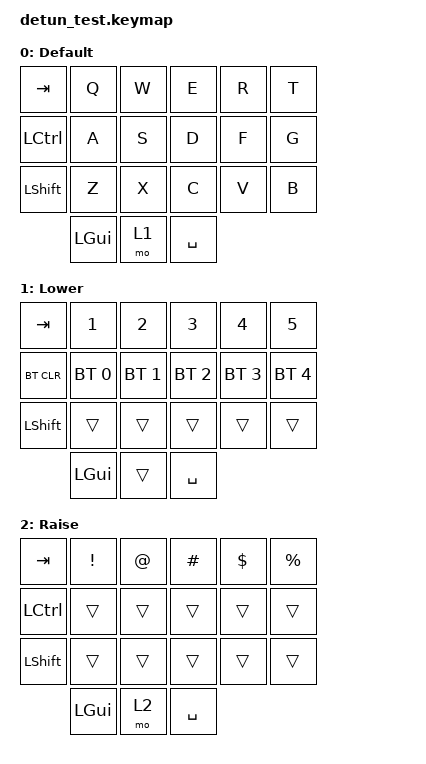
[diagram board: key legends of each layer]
/*
 * Copyright (c) 2020 The ZMK Contributors
 *
 * SPDX-License-Identifier: MIT
 */

#include <behaviors.dtsi>
#include <dt-bindings/zmk/keys.h>
#include <dt-bindings/zmk/bt.h>

/ {
    keymap {
        compatible = "zmk,keymap";

        default_layer {
            display-name = "Default";
// -----------------------------------------------------------------------------------------
// |  TAB |  Q  |  W  |  E  |  R  |  T  |
// | CTRL |  A  |  S  |  D  |  F  |  G  |
// | SHFT |  Z  |  X  |  C  |  V  |  B  |
//             | GUI | LWR | SPC |
            bindings = <
   &kp TAB   &kp Q &kp W &kp E &kp R &kp T
   &kp LCTRL &kp A &kp S &kp D &kp F &kp G
   &kp LSHFT &kp Z &kp X &kp C &kp V &kp B
             &kp LGUI &mo 1 &kp SPACE
            >;
        };

        lower_layer {
            display-name = "Lower";
// -----------------------------------------------------------------------------------------
// |  TAB |  1  |  2  |  3  |  4  |  5  |
// | BTCLR| BT1 | BT2 | BT3 | BT4 | BT5 |
// | SHFT |     |     |     |     |     |
//             | GUI |     | SPC |
            bindings = <
   &kp TAB    &kp N1       &kp N2       &kp N3       &kp N4       &kp N5
   &bt BT_CLR &bt BT_SEL 0 &bt BT_SEL 1 &bt BT_SEL 2 &bt BT_SEL 3 &bt BT_SEL 4
   &kp LSHFT  &trans       &trans       &trans       &trans       &trans
              &kp LGUI     &trans       &kp SPACE
            >;
        };

        raise_layer {
            display-name = "Raise";
// -----------------------------------------------------------------------------------------
// |  TAB |  !  |  @  |  #  |  $  |  %  |
// | CTRL |     |     |     |     |     |
// | SHFT |     |     |     |     |     |
//             | GUI | MO2 | SPC |
            bindings = <
   &kp  TAB  &kp EXCL &kp AT &kp HASH &kp DLLR &kp PRCNT
   &kp LCTRL &trans   &trans &trans   &trans   &trans
   &kp LSHFT &trans   &trans &trans   &trans   &trans
             &kp LGUI &mo 2  &kp SPACE
            >;
        };
    };
};
